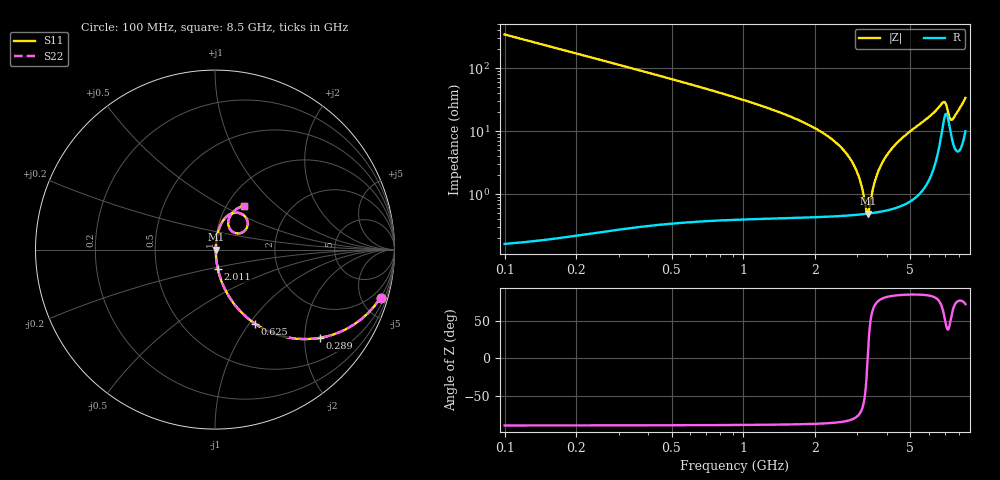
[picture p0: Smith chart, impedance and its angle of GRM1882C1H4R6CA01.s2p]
!Murata Part Number: GRM1882C1H4R6CA01
!These Parameters are Measured in Series Mode Connection
!Data Generated on Mar 30, 2021
!  o--ll--o
!Port1  Port2
!  o------o
!Operation Temp=25[degC], DC Bias Voltage=0[V]
!Freq. Start=100[MHz] Stop=9[GHz] 401[Steps]
# Hz S RI R 50
!Freq.(Hz) S11(Real) S11(Imag) S21(Real) S21(Imag) S12(Real) S12(Imag) S22(Real) S22(Imag)
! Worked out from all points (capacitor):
!   401 points, 100 MHz to 8.5 GHz, reference 50 ohm
!   read as one part in series: C = 4.6 pF near 142 MHz
!   lowest |Z| = 491 mohm at 3.313 GHz (marker M1)
!   series resonance near 3.313 GHz, so ESL is about 500 pH
!   S11 on the Smith chart (normalised r, x): 100 MHz: 1.00, -6.91; 289 MHz: 1.01, -2.37; 625 MHz: 1.01, -1.07; 2.011 GHz: 1.01, -0.22; 8.5 GHz: 1.20, +0.65
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1e8  0.9226 -0.2669  0.0774 0.2669  0.0774 0.2669  0.9226 -0.2669
2.89e8  0.5847 -0.4916  0.4153 0.4916  0.4153 0.4916  0.5847 -0.4916
4.36e8  0.3782 -0.4829  0.6218 0.4829  0.6218 0.4829  0.3782 -0.4829
6.25e8  0.2231 -0.4129  0.7769 0.4129  0.7769 0.4129  0.2231 -0.4129
9.61e8  0.101 -0.2955  0.899 0.2955  0.899 0.2955  0.101 -0.2955
1.507e9  0.0362 -0.1757  0.9638 0.1757  0.9638 0.1757  0.0362 -0.1757
2.011e9  0.0161 -0.1076  0.9839 0.1076  0.9839 0.1076  0.0161 -0.1076
2.557e9  0.00755 -0.0552  0.9924 0.0552  0.9924 0.0552  0.00755 -0.0552
2.914e9  0.0054 -0.0274  0.9946 0.0274  0.9946 0.0274  0.0054 -0.0274
3.082e9  0.00498 -0.0154  0.995 0.0154  0.995 0.0154  0.00498 -0.0154
3.271e9  0.00486 -0.00273  0.9951 0.00273  0.9951 0.00273  0.00486 -0.00273
3.313e9  0.00488 1.44e-05  0.9951 -1.44e-05  0.9951 -1.44e-05  0.00488 1.44e-05
3.523e9  0.00522 0.0133  0.9948 -0.0133  0.9948 -0.0133  0.00522 0.0133
3.691e9  0.00574 0.0236  0.9943 -0.0236  0.9943 -0.0236  0.00574 0.0236
3.943e9  0.00693 0.0384  0.9931 -0.0384  0.9931 -0.0384  0.00693 0.0384
4.3e9  0.00941 0.0587  0.9906 -0.0587  0.9906 -0.0587  0.00941 0.0587
5.707e9  0.0324 0.1397  0.9676 -0.1397  0.9676 -0.1397  0.0324 0.1397
6.799e9  0.1432 0.2013  0.8568 -0.2013  0.8568 -0.2013  0.1432 0.2013
7.114e9  0.1691 0.109  0.8309 -0.109  0.8309 -0.109  0.1691 0.109
7.303e9  0.1138 0.092  0.8862 -0.092  0.8862 -0.092  0.1138 0.092
7.45e9  0.0864 0.1103  0.9136 -0.1103  0.9136 -0.1103  0.0864 0.1103
8.5e9  0.1629 0.2456  0.8371 -0.2456  0.8371 -0.2456  0.1629 0.2456
